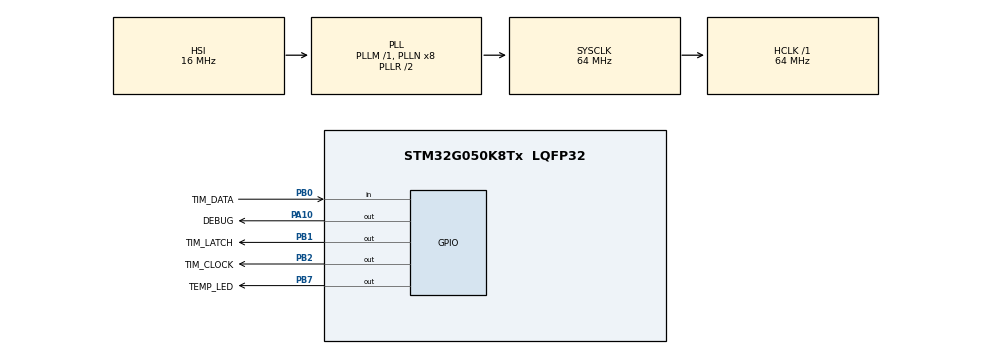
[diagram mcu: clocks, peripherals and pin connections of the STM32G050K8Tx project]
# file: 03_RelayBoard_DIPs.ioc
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Mcu.Family=STM32G0
Mcu.Name=STM32G050K8Tx
Mcu.Package=LQFP32
PA10.GPIO_Label=DEBUG
PA10.Signal=GPIO_Output
PA13.Mode=Serial_Wire
PA13.Signal=SYS_SWDIO
PA14-BOOT0.Mode=Serial_Wire
PA14-BOOT0.Signal=SYS_SWCLK
PB0.GPIO_Label=TIM_DATA
PB0.Signal=GPIO_Input
PB1.GPIO_Label=TIM_LATCH
PB1.Signal=GPIO_Output
PB2.GPIO_Label=TIM_CLOCK
PB2.Signal=GPIO_Output
PB7.GPIO_Label=TEMP_LED
PB7.Signal=GPIO_Output
PC14-OSC32_IN\ (PC14).Mode=HSE-External-Clock-Source
PC14-OSC32_IN\ (PC14).Signal=RCC_OSC_IN
PC15-OSC32_OUT\ (PC15).Mode=OSC enable
PC15-OSC32_OUT\ (PC15).Signal=RCC_OSC_EN
ProjectManager.HeapSize=0x200
ProjectManager.StackSize=0x400
ProjectManager.TargetToolchain=STM32CubeIDE
RCC.ADCFreq_Value=64000000
RCC.AHBFreq_Value=64000000
RCC.CortexFreq_Value=64000000
RCC.EXTERNAL_CLOCK_VALUE=48000
RCC.HCLKFreq_Value=64000000
RCC.HSE_VALUE=8000000
RCC.HSI_VALUE=16000000
RCC.LSE_VALUE=32768
RCC.SYSCLKFreq_VALUE=64000000
RCC.SYSCLKSource=RCC_SYSCLKSOURCE_PLLCLK
RCC.VCOOutputFreq_Value=128000000
VP_SYS_VS_DBSignals.Mode=DisableDeadBatterySignals
board=custom

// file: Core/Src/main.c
/* USER CODE BEGIN Header */
/**
  ******************************************************************************
  * @file           : main.c
  * @brief          : Main program body
  ******************************************************************************
  * @attention
  *
  * Copyright (c) 2025 STMicroelectronics.
  * All rights reserved.
  *
  * This software is licensed under terms that can be found in the LICENSE file
  * in the root directory of this software component.
  * If no LICENSE file comes with this software, it is provided AS-IS.
  *
  ******************************************************************************
  */
/* USER CODE END Header */
#include "main.h"
#include "gpio.h"

/* USER CODE BEGIN PD */

#define	PRESET_DELAY	250
/* USER CODE END PD */

/* USER CODE BEGIN PV */

uint8_t TIM_Input = 0x00;			//DIP's input for time setting
uint8_t TIM_DEBUG[8] = {'\0'};

/* USER CODE END PV */

void SystemClock_Config(void);

int main(void)
{

  /* MCU Configuration--------------------------------------------------------*/

  /* Reset of all peripherals, Initializes the Flash interface and the Systick. */

HAL_Init();

  /* Configure the system clock */
  SystemClock_Config();

  /* Initialize all configured peripherals */
  MX_GPIO_Init();
  /* USER CODE BEGIN 2 */

  HAL_GPIO_WritePin(TIM_CLOCK_GPIO_Port, TIM_CLOCK_Pin, GPIO_PIN_RESET);
  HAL_GPIO_WritePin(TIM_LATCH_GPIO_Port, TIM_LATCH_Pin, GPIO_PIN_SET);

  HAL_GPIO_WritePin(TEMP_LED_GPIO_Port, TEMP_LED_Pin, GPIO_PIN_RESET);

  /* USER CODE END 2 */

  /* Infinite loop */
  /* USER CODE BEGIN WHILE */
  while (1)
  {
	ReadData();
	ShiftData();

	for(uint8_t o = 0 ; o < 8 ; o++)
	{
		if(( TIM_Input >> o) & 0x01)
		{
			HAL_GPIO_WritePin(TEMP_LED_GPIO_Port, TEMP_LED_Pin, GPIO_PIN_SET);
			HAL_Delay(PRESET_DELAY);
		}
		else
		{
			HAL_Delay(PRESET_DELAY);
		}

		HAL_GPIO_WritePin(TEMP_LED_GPIO_Port, TEMP_LED_Pin, GPIO_PIN_RESET);
		HAL_Delay(PRESET_DELAY);

/*
		HAL_GPIO_WritePin(TEMP_LED_GPIO_Port, TEMP_LED_Pin, GPIO_PIN_SET);
		HAL_Delay(100);
		HAL_GPIO_WritePin(TEMP_LED_GPIO_Port, TEMP_LED_Pin, GPIO_PIN_RESET);
		HAL_Delay(100);
//*/
	}

	HAL_GPIO_WritePin(TEMP_LED_GPIO_Port, TEMP_LED_Pin, GPIO_PIN_SET);
	HAL_Delay(PRESET_DELAY*4);
	HAL_GPIO_WritePin(TEMP_LED_GPIO_Port, TEMP_LED_Pin, GPIO_PIN_RESET);
	HAL_Delay(PRESET_DELAY*4);
    /* USER CODE END WHILE */

  }
}

void SystemClock_Config(void)
{
  RCC_OscInitTypeDef RCC_OscInitStruct = {0};
  RCC_ClkInitTypeDef RCC_ClkInitStruct = {0};

  /** Configure the main internal regulator output voltage
  */
  HAL_PWREx_ControlVoltageScaling(PWR_REGULATOR_VOLTAGE_SCALE1);

  /** Initializes the RCC Oscillators according to the specified parameters
  * in the RCC_OscInitTypeDef structure.
  */
  RCC_OscInitStruct.OscillatorType = RCC_OSCILLATORTYPE_HSI;
  RCC_OscInitStruct.HSIState = RCC_HSI_ON;
  RCC_OscInitStruct.HSIDiv = RCC_HSI_DIV1;
  RCC_OscInitStruct.HSICalibrationValue = RCC_HSICALIBRATION_DEFAULT;
  RCC_OscInitStruct.PLL.PLLState = RCC_PLL_ON;
  RCC_OscInitStruct.PLL.PLLSource = RCC_PLLSOURCE_HSI;
  RCC_OscInitStruct.PLL.PLLM = RCC_PLLM_DIV1;
  RCC_OscInitStruct.PLL.PLLN = 8;
  RCC_OscInitStruct.PLL.PLLP = RCC_PLLP_DIV2;
  RCC_OscInitStruct.PLL.PLLR = RCC_PLLR_DIV2;
  if (HAL_RCC_OscConfig(&RCC_OscInitStruct) != HAL_OK)
  {
    Error_Handler();
  }

  /** Initializes the CPU, AHB and APB buses clocks
  */
  RCC_ClkInitStruct.ClockType = RCC_CLOCKTYPE_HCLK|RCC_CLOCKTYPE_SYSCLK
                              |RCC_CLOCKTYPE_PCLK1;
  RCC_ClkInitStruct.SYSCLKSource = RCC_SYSCLKSOURCE_PLLCLK;
  RCC_ClkInitStruct.AHBCLKDivider = RCC_SYSCLK_DIV1;
  RCC_ClkInitStruct.APB1CLKDivider = RCC_HCLK_DIV1;

  if (HAL_RCC_ClockConfig(&RCC_ClkInitStruct, FLASH_LATENCY_2) != HAL_OK)
  {
    Error_Handler();
  }
}

void Error_Handler(void)
{
  __disable_irq();
  while (1)
  {
  }
}
